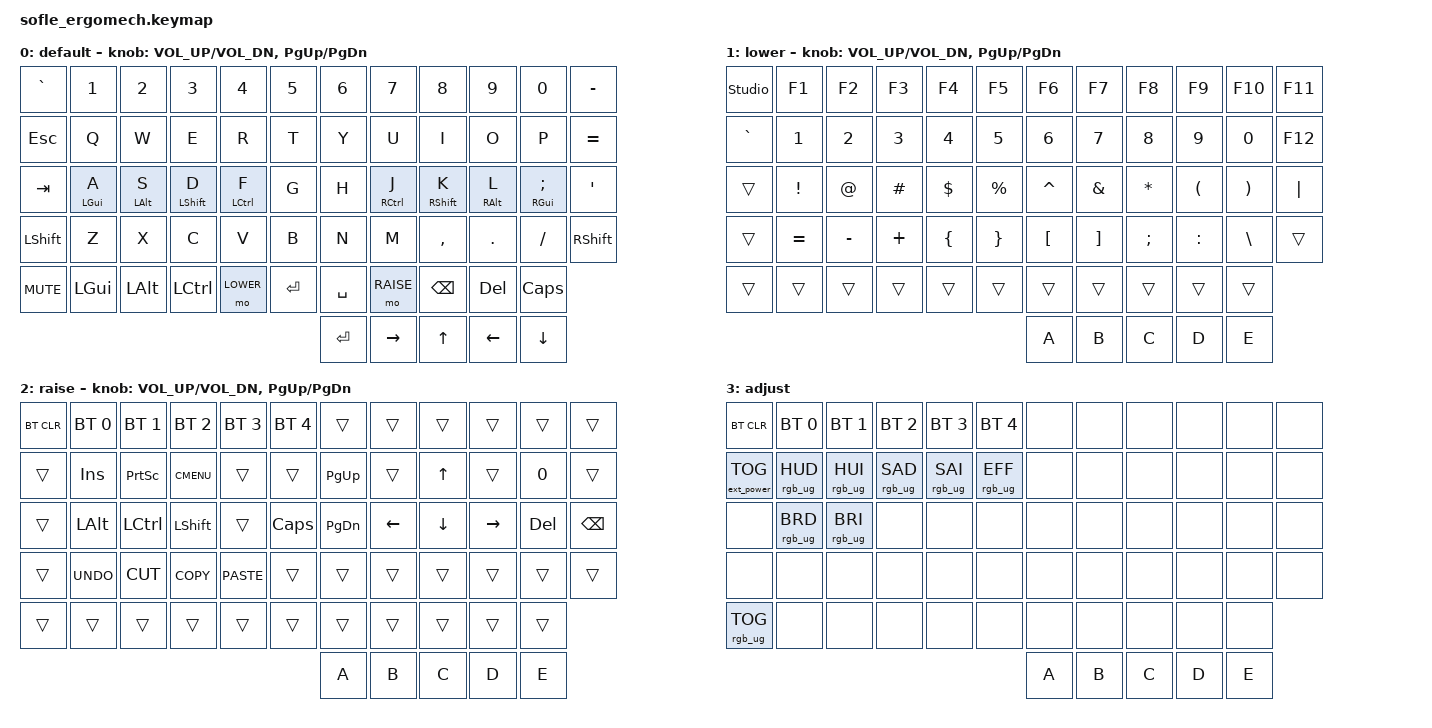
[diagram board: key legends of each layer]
/*
 * Copyright (c) 2020 The ZMK Contributors
 *
 * SPDX-License-Identifier: MIT
 */

#include <behaviors.dtsi>
#include <dt-bindings/zmk/bt.h>
#include <dt-bindings/zmk/ext_power.h>
#include <dt-bindings/zmk/keys.h>
#include <dt-bindings/zmk/rgb.h>

#define BASE 0
#define LOWER 1
#define RAISE 2
#define ADJUST 3

/ {
    // Activate ADJUST layer by pressing raise and lower
    behaviors {
        hml: home_row_mod_left {
            compatible = "zmk,behavior-hold-tap";
            #binding-cells = <2>;
            flavor = "balanced";
            require-prior-idle-ms = <150>;
            tapping-term-ms = <220>;
            quick-tap-ms = <175>;
            bindings = <&kp>, <&kp>;
            hold-trigger-key-positions = < A S D F >; // List of keys on the right side of the keyboard
            hold-trigger-on-release;
        };
        hmr: home_row_mod_right {
            compatible = "zmk,behavior-hold-tap";
            #binding-cells = <2>;
            flavor = "balanced";
            require-prior-idle-ms = <150>;
            tapping-term-ms = <220>;
            quick-tap-ms = <175>;
            bindings = <&kp>, <&kp>;
            hold-trigger-key-positions = < J K L SEMICOLON >; // List of keys on the left side of the keyboard
            hold-trigger-on-release;
        };
    };

    conditional_layers {
        compatible = "zmk,conditional-layers";

        adjust_layer {
            if-layers = <LOWER RAISE>;
            then-layer = <ADJUST>;
        };
    };

    keymap {
        compatible = "zmk,keymap";

        default_layer {
            label = "default";

            // ------------------------------------------------------------------------------------------------------------
            // |   `   |  1  |  2  |  3   |  4   |  5   |                   |  6   |  7    |  8    |  9   |   0   |       |
            // |  ESC  |  Q  |  W  |  E   |  R   |  T   |                   |  Y   |  U    |  I    |  O   |   P   | BKSPC |
            // |  TAB  |  A  |  S  |  D   |  F   |  G   |                   |  H   |  J    |  K    |  L   |   ;   |   '   |
            // | SHIFT |  Z  |  X  |  C   |  V   |  B   |  MUTE  |  |       |  N   |  M    |  ,    |  .   |   /   | SHIFT |
            //               | GUI | ALT  | CTRL | LOWER|  ENTER |  | SPACE | RAISE| CTRL  | ALT   | GUI  |

            bindings = <
&kp GRAVE   &kp N1           &kp N2           &kp N3             &kp N4               &kp N5   &kp N6     &kp N7                &kp N8              &kp N9            &kp N0                   &kp MINUS
&kp ESC     &kp Q            &kp W            &kp E              &kp R                &kp T    &kp Y      &kp U                 &kp I               &kp O             &kp P                    &kp EQUAL
&kp TAB     &hml LEFT_GUI A  &hml LEFT_ALT S  &hml LEFT_SHIFT D  &hml LEFT_CONTROL F  &kp G    &kp H      &hmr RIGHT_CONTROL J  &hmr RIGHT_SHIFT K  &hmr RIGHT_ALT L  &hmr RIGHT_GUI SEMICOLON  &kp SQT
&kp LSHFT   &kp Z            &kp X            &kp C              &kp V                &kp B    &kp N      &kp M                 &kp COMMA           &kp DOT           &kp FSLH                 &kp RSHFT
&kp C_MUTE  &kp LGUI         &kp LALT         &kp LCTRL          &mo LOWER            &kp RET  &kp SPACE  &mo RAISE             &kp BACKSPACE       &kp DELETE        &kp CLCK
                                                                                           &kp ENTER  &kp RIGHT            &kp UP_ARROW       &kp LEFT         &kp DOWN
            >;

            sensor-bindings = <&inc_dec_kp C_VOL_UP C_VOL_DN &inc_dec_kp PG_UP PG_DN>;
        };

        lower_layer {
            label = "lower";

            // TODO: Some binds are waiting for shifted keycode support.
            // ------------------------------------------------------------------------------------------------------------
            // |       |  F1 |  F2 |  F3  |  F4  |  F5  |                   |  F6  |  F7   |  F8   |  F9  |  F10  |  F11  |
            // |   `   |  1  |  2  |  3   |  4   |  5   |                   |  6   |  7    |  8    |  9   |   0   |  F12  |
            // |       |  !  |  @  |  #   |  $   |  %   |                   |  ^   |  &    |  *    |  (   |   )   |   |   |
            // |       |  =  |  -  |  +   |  {   |  }   |        |  |       |  [   |  ]    |  ;    |  :   |   \   |       |
            //               |     |      |      |      |        |  |       |      |       |       |      |

            bindings = <
&studio_unlock  &kp F1     &kp F2     &kp F3    &kp F4    &kp F5     &kp F6     &kp F7    &kp F8     &kp F9     &kp F10   &kp F11
&kp GRAVE       &kp N1     &kp N2     &kp N3    &kp N4    &kp N5     &kp N6     &kp N7    &kp N8     &kp N9     &kp N0    &kp F12
&trans          &kp EXCL   &kp AT     &kp HASH  &kp DLLR  &kp PRCNT  &kp CARET  &kp AMPS  &kp ASTRK  &kp LPAR   &kp RPAR  &kp PIPE
&trans          &kp EQUAL  &kp MINUS  &kp PLUS  &kp LBRC  &kp RBRC   &kp LBKT   &kp RBKT  &kp SEMI   &kp COLON  &kp BSLH  &trans
&trans          &trans     &trans     &trans    &trans    &trans     &trans     &trans    &trans     &trans     &trans
                                                                     &kp A      &kp B     &kp C      &kp D      &kp E
            >;

            sensor-bindings = <&inc_dec_kp C_VOL_UP C_VOL_DN &inc_dec_kp PG_UP PG_DN>;
        };

        raise_layer {
            label = "raise";

            // ------------------------------------------------------------------------------------------------------------
            // | BTCLR | BT1  | BT2  |  BT3  |  BT4  |  BT5 |                |      |      |       |      |       |       |
            // |       | INS  | PSCR | GUI   |       |      |                | PGUP |      |   ^   |      |       |       |
            // |       | ALT  | CTRL | SHIFT |       | CAPS |                | PGDN |   <- |   v   |  ->  |  DEL  | BKSPC |
            // |       | UNDO | CUT  | COPY  | PASTE |      |      |  |      |      |      |       |      |       |       |
            //                |      |       |       |      |      |  |      |      |      |       |      |

            bindings = <
&bt BT_CLR  &bt BT_SEL 0  &bt BT_SEL 1  &bt BT_SEL 2  &bt BT_SEL 3  &bt BT_SEL 4  &trans     &trans    &trans    &trans     &trans   &trans
&trans      &kp INS       &kp PSCRN     &kp K_CMENU   &trans        &trans        &kp PG_UP  &trans    &kp UP    &trans     &kp N0   &trans
&trans      &kp LALT      &kp LCTRL     &kp LSHFT     &trans        &kp CLCK      &kp PG_DN  &kp LEFT  &kp DOWN  &kp RIGHT  &kp DEL  &kp BSPC
&trans      &kp K_UNDO    &kp K_CUT     &kp K_COPY    &kp K_PASTE   &trans        &trans     &trans    &trans    &trans     &trans   &trans
&trans      &trans        &trans        &trans        &trans        &trans        &trans     &trans    &trans    &trans     &trans
                                                                                  &kp A      &kp B     &kp C     &kp D      &kp E
            >;

            sensor-bindings = <&inc_dec_kp C_VOL_UP C_VOL_DN &inc_dec_kp PG_UP PG_DN>;
        };

        adjust_layer {
            // ----------------------------------------------------------------------------------------------------------------------------
            // | BTCLR  |  BT1    |  BT2    |   BT3   |   BT4   |   BT5   |                  |      |      |       |      |       |       |
            // | EXTPWR | RGB_HUD | RGB_HUI | RGB_SAD | RGB_SAI | RGB_EFF |                  |      |      |       |      |       |       |
            // |        | RGB_BRD | RGB_BRI |         |         |         |                  |      |      |       |      |       |       |
            // |        |         |         |         |         |         | RGB_TOG | |      |      |      |       |      |       |       |
            //                    |         |         |         |         |         | |      |      |      |       |      |

            label = "adjust";
            bindings = <
&bt BT_CLR         &bt BT_SEL 0     &bt BT_SEL 1     &bt BT_SEL 2     &bt BT_SEL 3     &bt BT_SEL 4     &none  &none  &none  &none  &none  &none
&ext_power EP_TOG  &rgb_ug RGB_HUD  &rgb_ug RGB_HUI  &rgb_ug RGB_SAD  &rgb_ug RGB_SAI  &rgb_ug RGB_EFF  &none  &none  &none  &none  &none  &none
&none              &rgb_ug RGB_BRD  &rgb_ug RGB_BRI  &none            &none            &none            &none  &none  &none  &none  &none  &none
&none              &none            &none            &none            &none            &none            &none  &none  &none  &none  &none  &none
&rgb_ug RGB_TOG    &none            &none            &none            &none            &none            &none  &none  &none  &none  &none
                                                                                                        &kp A  &kp B  &kp C  &kp D  &kp E
            >;
        };
    };
};
